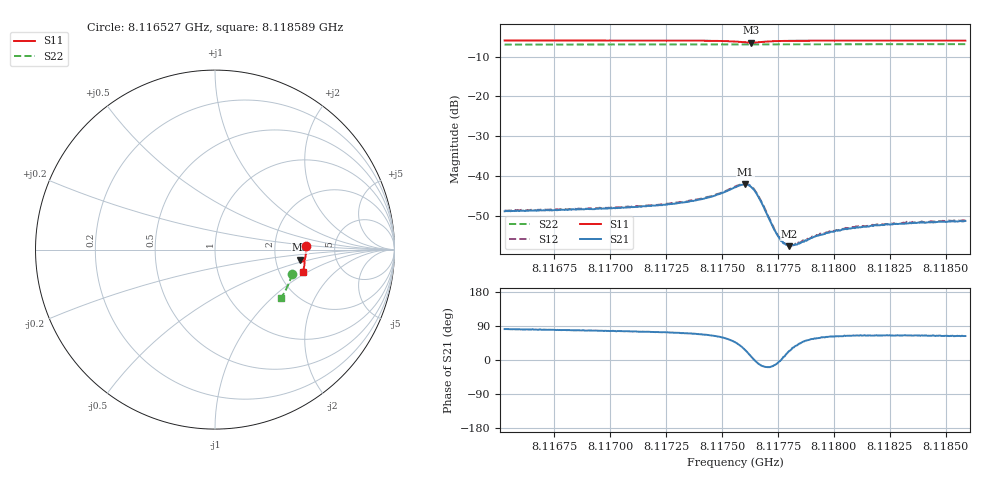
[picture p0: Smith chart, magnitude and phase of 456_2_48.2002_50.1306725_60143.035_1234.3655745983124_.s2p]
#  HZ  S  RI  R  50.00
! Rohde & Schwarz Vector Network Analyzer
! Rohde-Schwarz,ZNB20-2Port,1311601062101988,3.16
! Created: UTC 3/20/2024, 11:56:33 AM
! freq[Hz]  re:S11  im:S11  re:S21  im:S21  re:S12  im:S12  re:S22  im:S22
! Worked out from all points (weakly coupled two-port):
!   401 points, 8.116527 GHz to 8.118589 GHz, reference 50 ohm
!   highest |S21| = -42.15 dB at 8.117605 GHz (marker M1); lowest = -57.7 dB at 8.1178 GHz (marker M2)
!   lowest |S11| = -6.4 dB at 8.11763 GHz (marker M3), VSWR 2.82, Z = 138 - j19.7 ohm
!   |S11| at or under -10 dB: nowhere
!   |S22| runs from -6.9 to -6.8 dB; largest |S21 - S12| = 0.00023
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8.1165274e9  0.5069 0.0198  0.000525 0.00355  0.000601 0.00361  0.429 -0.137
8.1168727e9  0.5066 -0.00683  0.000793 0.00372  0.000839 0.00378  0.4219 -0.1599
8.117218e9  0.5047 -0.0345  0.00122 0.00411  0.00126 0.00415  0.4135 -0.1826
8.1174036e9  0.5011 -0.0513  0.00192 0.0047  0.00197 0.00478  0.4085 -0.1946
8.1174809e9  0.4973 -0.0597  0.00275 0.00516  0.00282 0.00523  0.4061 -0.1997
8.1175582e9  0.4869 -0.0674  0.00489 0.00525  0.00501 0.00535  0.4035 -0.2045
8.1176046e9  0.4755 -0.0637  0.00703 0.0034  0.00721 0.00343  0.4016 -0.2071
8.1176303e9  0.473 -0.0554  0.00718 0.00116  0.00734 0.00118  0.401 -0.2083
8.1176509e9  0.4762 -0.0492  0.0062 -0.000365  0.00635 -0.000459  0.4006 -0.2092
8.1176664e9  0.4805 -0.0468  0.00512 -0.00101  0.00527 -0.00103  0.4005 -0.2101
8.1177437e9  0.4954 -0.0533  0.00185 -0.000345  0.00188 -0.000373  0.3987 -0.2152
8.117754e9  0.4962 -0.0547  0.0017 -0.000139  0.00168 -0.000214  0.3985 -0.2158
8.1177746e9  0.4975 -0.0576  0.00141 0.000203  0.00141 0.00014  0.3979 -0.2173
8.1177849e9  0.4978 -0.0588  0.00133 0.000323  0.00135 0.000319  0.3977 -0.2178
8.1178004e9  0.4984 -0.0608  0.0012 0.000524  0.00124 0.000535  0.397 -0.2189
8.1178159e9  0.4989 -0.0626  0.00113 0.000718  0.00118 0.000676  0.3967 -0.22
8.1178416e9  0.4991 -0.0656  0.00105 0.000932  0.00109 0.000959  0.3957 -0.2216
8.1179035e9  0.4991 -0.0721  0.000944 0.00137  0.001 0.00141  0.3938 -0.2254
8.1179447e9  0.4991 -0.076  0.000915 0.00158  0.000976 0.00158  0.3924 -0.2281
8.1180478e9  0.498 -0.0851  0.000919 0.00193  0.000963 0.00195  0.3891 -0.2345
8.1182488e9  0.4953 -0.1012  0.00102 0.00222  0.00111 0.00226  0.3822 -0.2467
8.1185889e9  0.4892 -0.1267  0.00122 0.00242  0.00126 0.00246  0.3694 -0.2671
